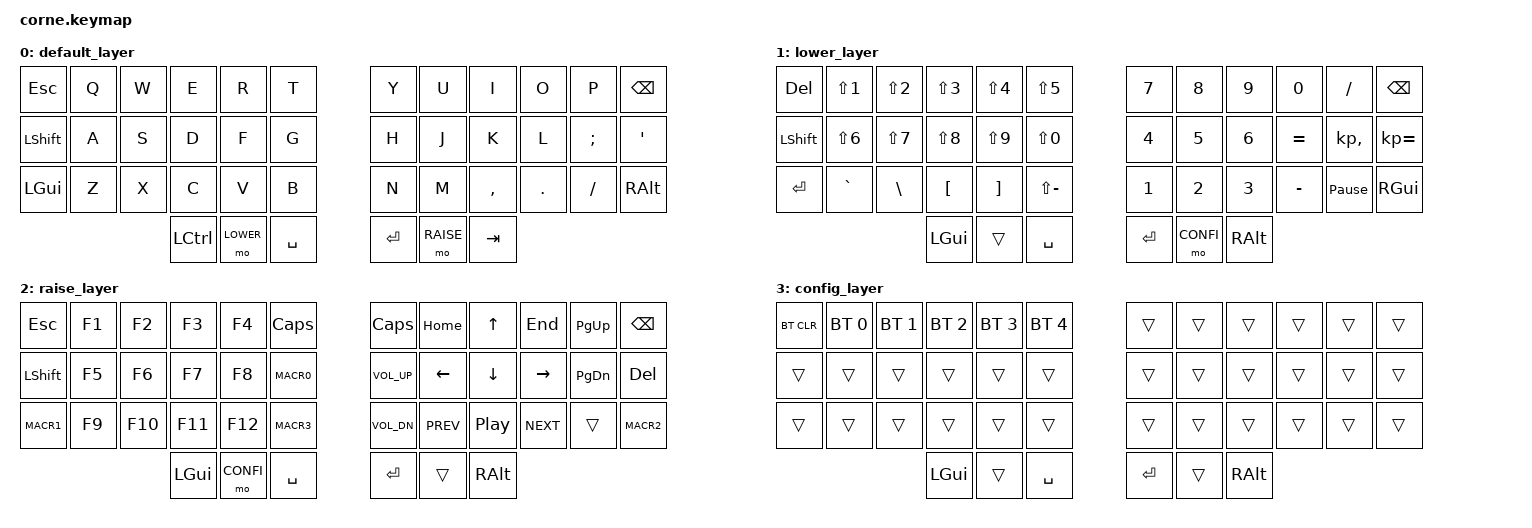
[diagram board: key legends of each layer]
/*
 * Copyright (c) 2020 The ZMK Contributors
 *
 * SPDX-License-Identifier: MIT
 */

#include <behaviors.dtsi>
#include <dt-bindings/zmk/keys.h>
#include <dt-bindings/zmk/bt.h>

#define DEFAULT 0
#define LOWER 1
#define RAISE 2
#define CONFI 3

/ {
        macros {
          MACR0: MACR0 {
            compatible = "zmk,behavior-macro";
            #binding-cells = <0>;
            bindings = <&macro_press &kp LCTRL>, 
                       <&macro_tap &kp UP>, 
                       <&macro_release &kp LCTRL>;
          };
          MACR1: MACR1 {
            compatible = "zmk,behavior-macro";
            #binding-cells = <0>;
            bindings = <&macro_press &kp LCTRL>, 
                       <&macro_tap &kp LEFT>,
                       <&macro_release &kp LCTRL>;
          };
          MACR2: MACR2 {
            compatible = "zmk,behavior-macro";
            #binding-cells = <0>;
            bindings = <&macro_press &kp LCTRL>, 
                       <&macro_tap &kp RIGHT>,
                       <&macro_release &kp LCTRL>;
          };
          MACR3: MACR3 {
            compatible = "zmk,behavior-macro";
            #binding-cells = <0>;
            bindings = <&macro_press &kp LGUI>, 
                       <&macro_press &kp LSHFT>,
                       <&macro_tap &kp N5>,
                       <&macro_release &kp LSHFT>,
                       <&macro_release &kp LGUI>;
          };
        };

        keymap {
                compatible = "zmk,keymap";

                default_layer {
// -----------------------------------------------------------------------------------------
// |  ESC |  Q  |  W  |  E  |  R  |  T  |   |  Y  |  U   |  I  |  O  |  P  | BKSP |
// | CTRL |  A  |  S  |  D  |  F  |  G  |   |  H  |  J   |  K  |  L  |  ;  |  '   |
// | SHFT |  Z  |  X  |  C  |  V  |  B  |   |  N  |  M   |  ,  |  .  |  /  | TAB  |
//                    | GUI | LWR | SPC |   | ENT | RSE  | ALT |
                        bindings = <
   &kp ESC   &kp Q &kp W &kp E &kp R &kp T       &kp Y &kp U  &kp I     &kp O   &kp P    &kp BSPC
   &kp LSHFT &kp A &kp S &kp D &kp F &kp G       &kp H &kp J  &kp K     &kp L   &kp SEMI &kp SQT
   &kp LGUI  &kp Z &kp X &kp C &kp V &kp B       &kp N &kp M  &kp COMMA &kp DOT &kp FSLH &kp RALT
                 &kp LCTRL &mo LOWER &kp SPACE   &kp RET &mo RAISE &kp TAB
                        >;
                };
                lower_layer {
// -----------------------------------------------------------------------------------------
// |  TAB |  1  |  2  |  3  |  4  |  5  |   |  6  |  7  |  8  |  9  |  0        | BKSP |
// | CAPS |EXCL | AT  | HASH|DLLR |PRCNT|   |CARET|AMPS |ASTRK|LPAR | RPAR      |      |
// | SHFT |     |     |     |     |     |   |     |INS  |PSCRN|SLCK |PAUSE_BREAK| PGDN |
//                    | GUI |     | SPC |   | ENT | CONF| ALT |
                        bindings = <
   &kp DEL    &kp LS(N1)   &kp LS(N2)   &kp LS(N3)   &kp LS(N4)   &kp LS(N5)     &kp N7    &kp N8    &kp N9    &kp N0    &kp SLASH       &kp BSPC
   &kp LSHFT  &kp LS(N6)   &kp LS(N7)   &kp LS(N8)   &kp LS(N9)   &kp LS(N0)     &kp N4    &kp N5    &kp N6    &kp EQUAL &kp KP_COMMA    &kp KP_EQUAL
   &kp ENTER  &kp GRAVE    &kp BSLH     &kp LBKT     &kp RBKT     &kp LS(MINUS)  &kp N1    &kp N2    &kp N3    &kp MINUS &kp PAUSE_BREAK &kp RGUI
                                        &kp LGUI     &trans       &kp SPACE      &kp RET   &mo CONFI &kp RALT
                        >;
                };

                raise_layer {
// -----------------------------------------------------------------------------------------
// |  F1 | F2  | F3  | F4  | F5  | F6   |   |  F7 | F8  | F9  | F10 | F11 | F12 |
// |  -  |  =  |  [  |  ]  |  \  |  `   |   |     | HOME| UP  | END |PGUP |     |
// |  _  |  +  |  {  |  }  | "|" |  ~   |   |     | LEFT|DOWN |RIGHT|PGDN |     |
//                    | GUI | CONF| SPC |   | ENT |     | ALT |
                        bindings = <
   &kp ESC      &kp F1       &kp F2    &kp F3   &kp F4    &kp CAPS      &kp CAPS     &kp HOME   &kp UP    &kp END    &kp PG_UP &kp BSPC 
   &kp LSHFT    &kp F5       &kp F6    &kp F7   &kp F8    &MACR0        &kp C_VOL_UP &kp LEFT   &kp DOWN  &kp RIGHT  &kp PG_DN &kp DEL
   &MACR1       &kp F9       &kp F10   &kp F11  &kp F12   &MACR3        &kp C_VOL_DN &kp C_PREV &kp C_PP  &kp C_NEXT &trans    &MACR2
                                       &kp LGUI &mo CONFI &kp SPACE     &kp RET      &trans     &kp RALT
                        >;
                };

                config_layer {
// -----------------------------------------------------------------------------------------
// | BTCLR| BT1 | BT2 | BT3 | BT4 | BT5 |   |     |     |     |     |     |      |
// |      |     |     |     |     |     |   |     |     |     |     |     |      |
// |      |     |     |     |     |     |   |     |     |     |     |     |      |
//                    | GUI |     | SPC |   | ENT |     | ALT |
                        bindings = <
   &bt BT_CLR &bt BT_SEL 0 &bt BT_SEL 1 &bt BT_SEL 2 &bt BT_SEL 3 &bt BT_SEL 4   &trans   &trans   &trans   &trans    &trans    &trans
   &trans     &trans       &trans       &trans       &trans       &trans         &trans   &trans   &trans   &trans    &trans    &trans
   &trans     &trans       &trans       &trans       &trans       &trans         &trans   &trans &trans &trans &trans   &trans
                                        &kp LGUI     &trans       &kp SPACE      &kp RET  &trans   &kp RALT
                        >;
                };
        };
};
